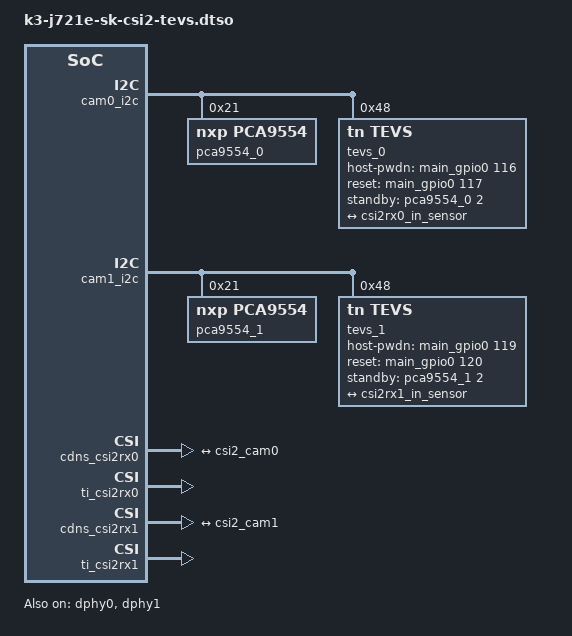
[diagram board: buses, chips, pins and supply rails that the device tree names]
// SPDX-License-Identifier: GPL-2.0
/*
 * DT overlay for two TechNexion TEVS/AR-series cameras connected to the
 * J721E/TDA4VM EAIK CSI-2 ports.
 *
 * Copyright (C) 2024 TechNexion Ltd.
 */
/dts-v1/;
/plugin/;
#include <dt-bindings/gpio/gpio.h>
#include "k3-pinctrl.h"
&main_pmx0 {
	main_rpi_cam0_pins_default: main-rpi-cam0-pins-default {
		pinctrl-single,pins = <
			J721E_IOPAD(0x1d4, PIN_OUTPUT, 7) /* (Y3) SPI1_CS0 */
			J721E_IOPAD(0x1d8, PIN_OUTPUT, 7) /* (W4) SPI1_CS1 */
		>;
	};
	main_rpi_cam1_pins_default: main-rpi-cam1-pins-default {
		pinctrl-single,pins = <
			J721E_IOPAD(0x1e0, PIN_OUTPUT, 7) /* (Y5) SPI1_D0 */
			J721E_IOPAD(0x1e4, PIN_OUTPUT, 7) /* (Y2) SPI1_D1 */
		>;
	};
};
&csi_mux {
	idle-state = <1>;
};
&cam0_i2c {
	#address-cells = <1>;
	#size-cells = <0>;
	pca9554_0: gpio@21 {
		compatible = "nxp,pca9554";
		reg = <0x21>;
		gpio-controller;
		#gpio-cells = <2>;
		status = "okay";
	};
	tevs_0: camera@48 {
		compatible = "tn,tevs";
		reg = <0x48>;
		pinctrl-names = "default";
		pinctrl-0 = <&main_rpi_cam0_pins_default>;
		/* J721E-EAIK board-specific GPIO routing. */
		host-pwdn-gpios = <&main_gpio0 116 GPIO_ACTIVE_HIGH>;
		reset-gpios = <&main_gpio0 117 GPIO_ACTIVE_HIGH>;
		standby-gpios = <&pca9554_0 2 GPIO_ACTIVE_HIGH>;
		/* Compatibility properties for the older TI TEVS driver. */
		data-lanes = <2>;
		data-frequency = <800>;
		continuous-clock = <0>;
        supports-over-4k-res;
		status = "okay";
		port {
			csi2_cam0: endpoint {
				remote-endpoint = <&csi2rx0_in_sensor>;
				clock-lanes = <0>;
				data-lanes = <1 2>;
				link-frequencies = /bits/ 64 <400000000>;
				clock-noncontinuous;
			};
		};
	};
};
&cam1_i2c {
	#address-cells = <1>;
	#size-cells = <0>;
	pca9554_1: gpio@21 {
		compatible = "nxp,pca9554";
		reg = <0x21>;
		gpio-controller;
		#gpio-cells = <2>;
		status = "okay";
	};
	tevs_1: camera@48 {
		compatible = "tn,tevs";
		reg = <0x48>;
		pinctrl-names = "default";
		pinctrl-0 = <&main_rpi_cam1_pins_default>;
		/* J721E-EAIK board-specific GPIO routing. */
		host-pwdn-gpios = <&main_gpio0 119 GPIO_ACTIVE_HIGH>;
		reset-gpios = <&main_gpio0 120 GPIO_ACTIVE_HIGH>;
		standby-gpios = <&pca9554_1 2 GPIO_ACTIVE_HIGH>;
		/* Compatibility properties for the older TI TEVS driver. */
		data-lanes = <2>;
		data-frequency = <800>;
		continuous-clock = <0>;
        supports-over-4k-res;
		status = "okay";
		port {
			csi2_cam1: endpoint {
				remote-endpoint = <&csi2rx1_in_sensor>;
				clock-lanes = <0>;
				data-lanes = <1 2>;
				link-frequencies = /bits/ 64 <400000000>;
				clock-noncontinuous;
			};
		};
	};
};
&cdns_csi2rx0 {
	ports {
		#address-cells = <1>;
		#size-cells = <0>;
		csi0_port0: port@0 {
			reg = <0>;
			status = "okay";
			csi2rx0_in_sensor: endpoint {
				remote-endpoint = <&csi2_cam0>;
				bus-type = <4>; /* MIPI CSI-2 D-PHY */
				clock-lanes = <0>;
				data-lanes = <1 2>;
				clock-noncontinuous;
			};
		};
		csi0_port1: port@1 {
			reg = <1>;
			status = "disabled";
		};
		csi0_port2: port@2 {
			reg = <2>;
			status = "disabled";
		};
		csi0_port3: port@3 {
			reg = <3>;
			status = "disabled";
		};
		csi0_port4: port@4 {
			reg = <4>;
			status = "disabled";
		};
	};
};
&dphy0 {
	status = "okay";
};
&ti_csi2rx0 {
	status = "okay";
};
&cdns_csi2rx1 {
	ports {
		#address-cells = <1>;
		#size-cells = <0>;
		csi1_port0: port@0 {
			reg = <0>;
			status = "okay";
			csi2rx1_in_sensor: endpoint {
				remote-endpoint = <&csi2_cam1>;
				bus-type = <4>; /* MIPI CSI-2 D-PHY */
				clock-lanes = <0>;
				data-lanes = <1 2>;
				clock-noncontinuous;
			};
		};
		csi1_port1: port@1 {
			reg = <1>;
			status = "disabled";
		};
		csi1_port2: port@2 {
			reg = <2>;
			status = "disabled";
		};
		csi1_port3: port@3 {
			reg = <3>;
			status = "disabled";
		};
		csi1_port4: port@4 {
			reg = <4>;
			status = "disabled";
		};
	};
};
&dphy1 {
	status = "okay";
};
&ti_csi2rx1 {
	status = "okay";
};
